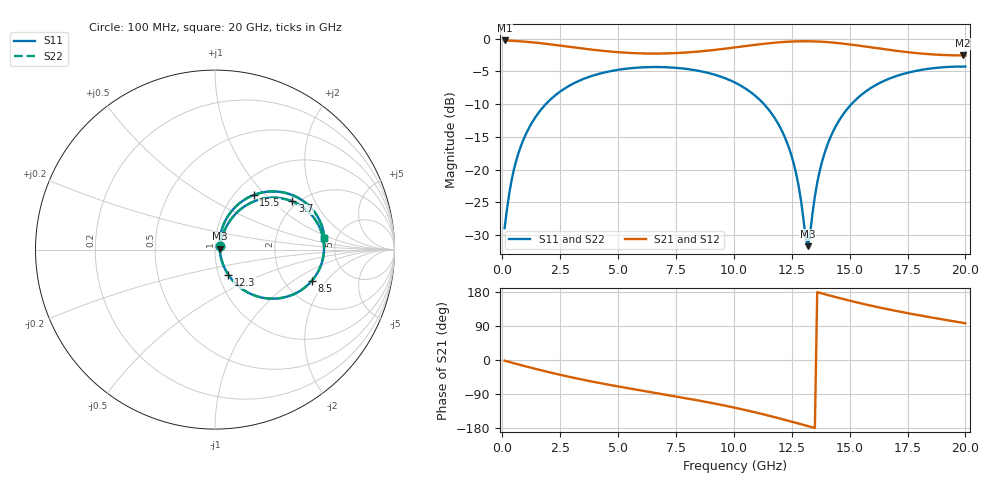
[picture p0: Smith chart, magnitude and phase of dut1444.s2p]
! Touchstone file exported from HFSS 2026.1.0
!  File:  C:/ffzhzh/LocalFiles/Ansys_Project_Files/temp_train_TSV_RDL_1444_1783357800_48288.aedt
!  Generated:  01:19:58 AM Jul  7, 2026
!  Design:  TSV_RDL
!  Project:  temp_train_TSV_RDL_1444_1783357800_48288
! Variables:
!  h_bsmrdl = 2.27um
!  h_ox = 20um
!  h_rdl = 5um
!  h_sub = 74.06um
!  h_tmrdl = 2.5um
!  h_tsv = 74.06um
!  h_via = 3um
!  l_bsmrdl = 223.51um
!  l_sub = 4353.73um
!  l_tmrdl = 794.43um
!  m_sub = 200um
!  pitch = 59.52um
!  r_tsv = 14.27um
!  s_tmrdl = 10um
!  w_bsmrdl = 15.56um
!  w_sub = 500um
!  w_tmrdl = 19.6um
!  x_tsv_center1 = 804.23um
!  x_tsv_center2 = 1043.3um
!  x_tsv_center3 = 1857.33um
!  x_tsv_center4 = 2096.4um
!  x_tsv_center5 = 2910.43um
!  x_tsv_center6 = 3149.5um
# GHz S MA R 50.000000
! Terminal data exported
! Port[1] = TM_RDL1_1_T1
! Port[2] = TM_RDL5_1_T1
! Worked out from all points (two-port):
!   200 points, 100 MHz to 20 GHz, reference 50 ohm
!   highest |S21| = -0.27 dB at 100 MHz (marker M1); lowest = -2.6 dB at 19.9 GHz (marker M2)
!   |S21| within 3 dB of the highest: start of sweep to end of sweep
!   lowest |S11| = -31.7 dB at 13.2 GHz (marker M3), VSWR 1.05, Z = 52.6 + j0.452 ohm
!   |S11| at or under -10 dB: start of sweep to 1.879 GHz; 11.3 GHz to 15.08 GHz (3.778 GHz wide, 28.6 % of centre)
!   |S22| runs from -31.7 to -4.3 dB; largest |S21 - S12| = 1.7e-14
!   S11 on the Smith chart (normalised r, x): 100 MHz: 1.06, +0.04; 3.7 GHz: 1.87, +1.36; 8.5 GHz: 2.81, -1.43; 12.3 GHz: 1.11, -0.32; 15.5 GHz: 1.22, +0.86; 20 GHz: 3.98, +0.83
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0.1  0.03568 31.5  0.9699 -1.7  0.9699 -1.7  0.03568 31.5
! Gamma 0 0 0 0
! Port Impedance 50 0 50 0
0.5  0.09977 62.4  0.9629 -8.5  0.9629 -8.5  0.09977 62.4
1.1  0.1997 61.7  0.9457 -18.2  0.9457 -18.2  0.1997 61.8
2.1  0.3458 51.0  0.9048 -33.4  0.9048 -33.4  0.3458 51.0
3.5  0.4922 34.3  0.8402 -52.3  0.8402 -52.3  0.4922 34.3
3.7  0.5075 32.0  0.8319 -54.7  0.8319 -54.7  0.5076 32.0
5.3  0.5884 14.8  0.7825 -73.0  0.7825 -73.0  0.5885 14.8
6.8  0.6073 -0.2  0.7703 -88.8  0.7703 -88.8  0.6073 -0.2
8.5  0.5673 -17.7  0.7987 -107.1  0.7987 -107.1  0.5674 -17.7
10.1  0.4576 -36.1  0.8603 -126.7  0.8603 -126.7  0.4576 -36.1
11.4  0.3022 -52.5  0.9187 -145.2  0.9187 -145.2  0.3023 -52.5
12.3  0.1602 -62.0  0.948 -159.5  0.948 -159.5  0.1603 -62.0
12.7  0.09168 -61.3  0.9548 -166.1  0.9548 -166.1  0.09173 -61.4
13.2  0.02598 9.5  0.9566 -174.4  0.9566 -174.4  0.02588 9.4
13.4  0.04658 57.1  0.9551 -177.7  0.9551 -177.7  0.04647 57.2
13.7  0.09619 70.4  0.9505 177.3  0.9505 177.3  0.09609 70.5
14.1  0.1645 70.6  0.9404 170.7  0.9404 170.7  0.1644 70.6
14.7  0.261 64.6  0.9183 161.2  0.9183 161.2  0.2609 64.7
15.5  0.3718 54.7  0.8807 149.3  0.8807 149.3  0.3717 54.8
16.7  0.4943 40.2  0.8222 133.3  0.8222 133.3  0.4942 40.3
19.9  0.6129 7.1  0.7454 98.0  0.7454 98.0  0.6129 7.1
20  0.6127 6.1  0.7455 96.9  0.7455 96.9  0.6127 6.2
